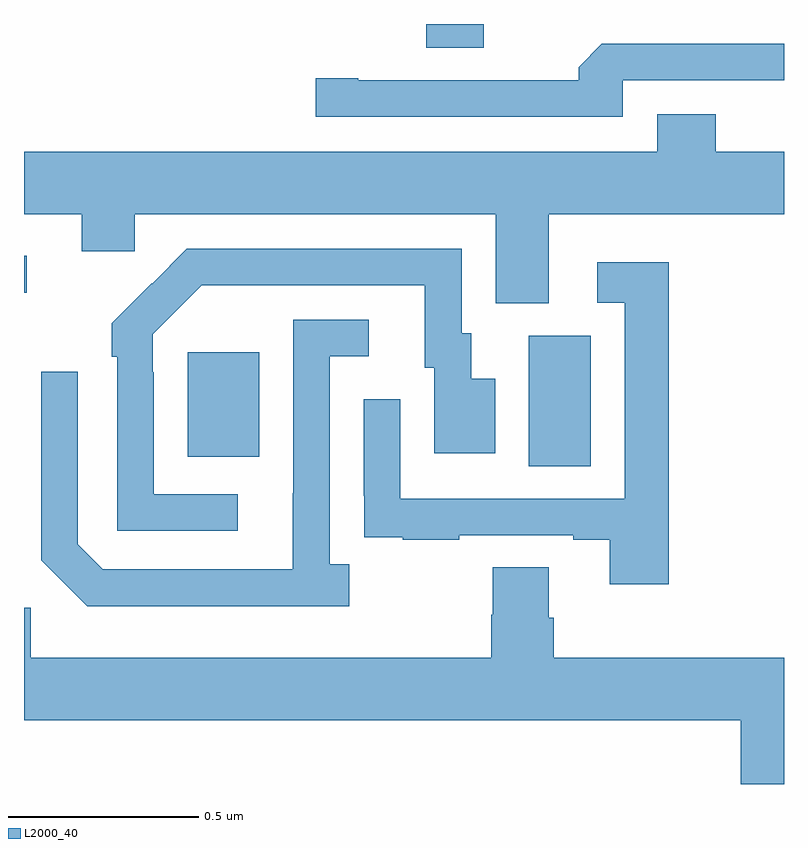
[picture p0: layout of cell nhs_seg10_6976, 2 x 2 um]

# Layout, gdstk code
import gdstk
lib = gdstk.Library(unit=1e-6, precision=1e-09)
def R(c, l, rs):  # rectangles x0, y0, x1, y1
    for r in rs: c.add(gdstk.rectangle(r[:2], r[2:], *l))
def P(c, l, *ps):  # polygons
    for p in ps: c.add(gdstk.Polygon(p, *l))
L2000_40 = (2000, 40)

nhs_seg10_6976 = lib.new_cell('nhs_seg10_6976')
R(nhs_seg10_6976, L2000_40, [(199.328,1282.336,199.492,1282.68), (198.431,1282.361,198.619,1282.636), (198,1282.793,198.007,1282.89), (199.058,1283.437,199.21,1283.5)])
P(nhs_seg10_6976, L2000_40, [(199.575,1283.352),(200,1283.352),(200,1283.448),(199.521,1283.448),(199.46,1283.386),(199.46,1283.352),(198.88,1283.352),(198.88,1283.357),(198.768,1283.357),(198.768,1283.256),(199.575,1283.256)],
  [(199.381,1283),(200,1283),(200,1283.164),(199.82,1283.164),(199.82,1283.263),(199.667,1283.263),(199.667,1283.164),(198,1283.164),(198,1283),(198.152,1283),(198.152,1282.902),(198.291,1282.902),(198.291,1283),(199.241,1283),(199.241,1282.765),(199.381,1282.765)],
  [(198.562,1282.263),(198.342,1282.263),(198.342,1282.583),(198.339,1282.583),(198.339,1282.683),(198.468,1282.812),(199.055,1282.812),(199.055,1282.596),(199.079,1282.596),(199.079,1282.371),(199.24,1282.371),(199.24,1282.567),(199.177,1282.567),(199.177,1282.686),(199.152,1282.686),(199.152,1282.908),(198.428,1282.908),(198.337,1282.817),(198.336,1282.818),(198.231,1282.713),(198.231,1282.625),(198.246,1282.625),(198.246,1282.167),(198.562,1282.167)],
  [(199.697,1282.873),(199.509,1282.873),(199.509,1282.767),(199.581,1282.767),(199.581,1282.251),(198.99,1282.251),(198.99,1282.513),(198.894,1282.513),(198.894,1282.258),(198.895,1282.258),(198.895,1282.149),(198.997,1282.149),(198.997,1282.143),(199.145,1282.143),(199.145,1282.155),(199.445,1282.155),(199.445,1282.143),(199.541,1282.143),(199.541,1282.026),(199.697,1282.026)],
  [(198.856,1282.078),(198.804,1282.078),(198.804,1282.626),(198.907,1282.626),(198.907,1282.722),(198.708,1282.722),(198.708,1282.265),(198.707,1282.265),(198.707,1282.065),(198.207,1282.065),(198.141,1282.131),(198.141,1282.585),(198.045,1282.585),(198.045,1282.089),(198.166,1281.968),(198.856,1281.968)],
  [(200,1281.832),(199.394,1281.832),(199.394,1281.938),(199.381,1281.938),(199.381,1282.07),(199.234,1282.07),(199.234,1281.945),(199.229,1281.945),(199.229,1281.832),(198.018,1281.832),(198.018,1281.964),(198,1281.964),(198,1281.668),(199.886,1281.668),(199.886,1281.5),(200,1281.5)])

lib.write_gds('nhs_seg10_6976.gds')
